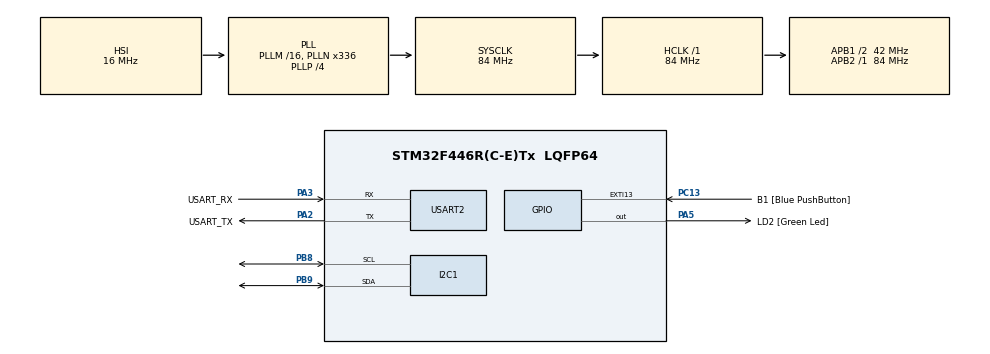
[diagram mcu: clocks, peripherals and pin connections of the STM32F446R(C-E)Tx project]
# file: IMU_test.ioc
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Mcu.Family=STM32F4
Mcu.Name=STM32F446R(C-E)Tx
Mcu.Package=LQFP64
NVIC.PriorityGroup=NVIC_PRIORITYGROUP_0
NVIC.USART2_IRQn=true\:0\:0\:false\:false\:true\:true\:true
PA13.GPIO_Label=TMS
PA13.Mode=Serial_Wire
PA13.Signal=SYS_JTMS-SWDIO
PA14.GPIO_Label=TCK
PA14.Mode=Serial_Wire
PA14.Signal=SYS_JTCK-SWCLK
PA2.GPIO_Label=USART_TX
PA2.Mode=Asynchronous
PA2.Signal=USART2_TX
PA3.GPIO_Label=USART_RX
PA3.Mode=Asynchronous
PA3.Signal=USART2_RX
PA5.GPIO_Label=LD2 [Green Led]
PA5.Signal=GPIO_Output
PB3.GPIO_Label=SWO
PB3.Signal=SYS_JTDO-SWO
PB8.Mode=I2C
PB8.Signal=I2C1_SCL
PB9.Mode=I2C
PB9.Signal=I2C1_SDA
PC13.GPIO_Label=B1 [Blue PushButton]
PC13.GPIO_ModeDefaultEXTI=GPIO_MODE_IT_FALLING
PC13.Signal=GPXTI13
PC14-OSC32_IN.Mode=LSE-External-Oscillator
PC14-OSC32_IN.Signal=RCC_OSC32_IN
PC15-OSC32_OUT.Mode=LSE-External-Oscillator
PC15-OSC32_OUT.Signal=RCC_OSC32_OUT
PH0-OSC_IN.Mode=HSE-External-Oscillator
PH0-OSC_IN.Signal=RCC_OSC_IN
PH1-OSC_OUT.Mode=HSE-External-Oscillator
PH1-OSC_OUT.Signal=RCC_OSC_OUT
ProjectManager.HeapSize=0x200
ProjectManager.StackSize=0x400
ProjectManager.TargetToolchain=STM32CubeIDE
RCC.48MHZClocksFreq_Value=84000000
RCC.AHBFreq_Value=84000000
RCC.APB1CLKDivider=RCC_HCLK_DIV2
RCC.APB1Freq_Value=42000000
RCC.APB1TimFreq_Value=84000000
RCC.APB2Freq_Value=84000000
RCC.APB2TimFreq_Value=84000000
RCC.CortexFreq_Value=84000000
RCC.FLatency-AdvancedSettings=FLASH_LATENCY_2
RCC.HCLKFreq_Value=84000000
RCC.HSE_VALUE=8000000
RCC.HSI_VALUE=16000000
RCC.PLLN=336
RCC.PLLP=RCC_PLLP_DIV4
RCC.SYSCLKFreq_VALUE=84000000
RCC.SYSCLKSource=RCC_SYSCLKSOURCE_PLLCLK
RCC.USBFreq_Value=168000000
RCC.VCOOutputFreq_Value=336000000
USART2.VirtualMode=VM_ASYNC
board=NUCLEO-F446RE

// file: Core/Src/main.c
/* USER CODE BEGIN Header */
/**
  ******************************************************************************
  * @file           : main.c
  * @brief          : Main program body
  ******************************************************************************
  * @attention
  *
  * <h2><center>&copy; Copyright (c) 2021 STMicroelectronics.
  * All rights reserved.</center></h2>
  *
  * This software component is licensed by ST under BSD 3-Clause license,
  * the "License"; You may not use this file except in compliance with the
  * License. You may obtain a copy of the License at:
  *                        opensource.org/licenses/BSD-3-Clause
  *
  ******************************************************************************
  */
/* USER CODE END Header */
#include "main.h"

/* USER CODE BEGIN Includes */
#include <stdio.h>
/* USER CODE END Includes */

/* USER CODE BEGIN PM */
#define IMU 0x68
#define AK8963 0x0c
/* USER CODE END PM */

I2C_HandleTypeDef hi2c1;

UART_HandleTypeDef huart2;

void SystemClock_Config(void);
static void MX_GPIO_Init(void);
static void MX_USART2_UART_Init(void);
static void MX_I2C1_Init(void);
/* USER CODE BEGIN PFP */
int _write(int file, char *ptr, int len);
void HAL_UART_RxCpltCallback(UART_HandleTypeDef *UartHandle);
/* USER CODE END PFP */

/* USER CODE BEGIN 0 */
uint8_t ret[1] = {0};
uint8_t rx_data = 0;
uint8_t flag_read[1] = {0};
uint8_t mag[7] = {0};

uint8_t send_data[18] = {0};
int16_t acc[3];
int16_t gyr[3];
uint8_t val[14];
/* USER CODE END 0 */

int main(void)
{
  /* USER CODE BEGIN 1 */
	setbuf(stdout, NULL);
  /* USER CODE END 1 */

  /* MCU Configuration--------------------------------------------------------*/

  /* Reset of all peripherals, Initializes the Flash interface and the Systick. */
  HAL_Init();

  /* Configure the system clock */
  SystemClock_Config();

  /* Initialize all configured peripherals */
  MX_GPIO_Init();
  MX_USART2_UART_Init();
  MX_I2C1_Init();
  /* USER CODE BEGIN 2 */
  ret[0] = 0x01;
  HAL_I2C_Mem_Write(&hi2c1, IMU<<1, 0x6b, I2C_MEMADD_SIZE_8BIT, (uint8_t*)ret, 0x01, 100);
  ret[0] = 0x08;
  HAL_I2C_Mem_Write(&hi2c1, IMU<<1, 0x1c, I2C_MEMADD_SIZE_8BIT, (uint8_t*)ret, 0x01, 100);
  HAL_I2C_Mem_Write(&hi2c1, IMU<<1, 0x1b, I2C_MEMADD_SIZE_8BIT, (uint8_t*)ret, 0x01, 100);
  ret[0] = 0x02;
  HAL_I2C_Mem_Write(&hi2c1, IMU<<1, 0x37, I2C_MEMADD_SIZE_8BIT, (uint8_t*)ret, 0x01, 100);
  ret[0] = 0x16;
  HAL_I2C_Mem_Write(&hi2c1, AK8963<<1, 0x0a, I2C_MEMADD_SIZE_8BIT, (uint8_t*)ret, 0x01, 100);
  HAL_UART_Receive_IT(&huart2, &rx_data, 1);
  /* USER CODE END 2 */

  /* Infinite loop */
  /* USER CODE BEGIN WHILE */
  while (1){
	  //HAL_I2C_Mem_Read(&hi2c1, IMU<<1, 0x3b,I2C_MEMADD_SIZE_8BIT,(uint8_t*)val ,14,100);
	  /*acc[0] = (val[0]<<8) | val[1];
	  acc[1] = (val[2]<<8) | val[3];
	  acc[2] = (val[4]<<8) | val[5];
	  gyr[0] = (val[6]<<8) | val[7];
	  gyr[1] = (val[8]<<8) | val[9];
	  gyr[2] = (val[10]<<8)| val[11];
	  gyr[0] -= 120;
	  gyr[1] += 100;
	  gyr[2] -= 100;
	  printf("%i\t%i\t%i\t%i\t%i\t%i\r\n", acc[0], acc[1], acc[2], gyr[0], gyr[1], gyr[2]);*/
	  HAL_Delay(100);

    /* USER CODE END WHILE */

  }
}

void SystemClock_Config(void)
{
  RCC_OscInitTypeDef RCC_OscInitStruct = {0};
  RCC_ClkInitTypeDef RCC_ClkInitStruct = {0};

  /** Configure the main internal regulator output voltage
  */
  __HAL_RCC_PWR_CLK_ENABLE();
  __HAL_PWR_VOLTAGESCALING_CONFIG(PWR_REGULATOR_VOLTAGE_SCALE3);
  /** Initializes the RCC Oscillators according to the specified parameters
  * in the RCC_OscInitTypeDef structure.
  */
  RCC_OscInitStruct.OscillatorType = RCC_OSCILLATORTYPE_HSI;
  RCC_OscInitStruct.HSIState = RCC_HSI_ON;
  RCC_OscInitStruct.HSICalibrationValue = RCC_HSICALIBRATION_DEFAULT;
  RCC_OscInitStruct.PLL.PLLState = RCC_PLL_ON;
  RCC_OscInitStruct.PLL.PLLSource = RCC_PLLSOURCE_HSI;
  RCC_OscInitStruct.PLL.PLLM = 16;
  RCC_OscInitStruct.PLL.PLLN = 336;
  RCC_OscInitStruct.PLL.PLLP = RCC_PLLP_DIV4;
  RCC_OscInitStruct.PLL.PLLQ = 2;
  RCC_OscInitStruct.PLL.PLLR = 2;
  if (HAL_RCC_OscConfig(&RCC_OscInitStruct) != HAL_OK)
  {
    Error_Handler();
  }
  /** Initializes the CPU, AHB and APB buses clocks
  */
  RCC_ClkInitStruct.ClockType = RCC_CLOCKTYPE_HCLK|RCC_CLOCKTYPE_SYSCLK
                              |RCC_CLOCKTYPE_PCLK1|RCC_CLOCKTYPE_PCLK2;
  RCC_ClkInitStruct.SYSCLKSource = RCC_SYSCLKSOURCE_PLLCLK;
  RCC_ClkInitStruct.AHBCLKDivider = RCC_SYSCLK_DIV1;
  RCC_ClkInitStruct.APB1CLKDivider = RCC_HCLK_DIV2;
  RCC_ClkInitStruct.APB2CLKDivider = RCC_HCLK_DIV1;

  if (HAL_RCC_ClockConfig(&RCC_ClkInitStruct, FLASH_LATENCY_2) != HAL_OK)
  {
    Error_Handler();
  }
}

static void MX_I2C1_Init(void)
{

  hi2c1.Instance = I2C1;
  hi2c1.Init.ClockSpeed = 100000;
  hi2c1.Init.DutyCycle = I2C_DUTYCYCLE_2;
  hi2c1.Init.OwnAddress1 = 0;
  hi2c1.Init.AddressingMode = I2C_ADDRESSINGMODE_7BIT;
  hi2c1.Init.DualAddressMode = I2C_DUALADDRESS_DISABLE;
  hi2c1.Init.OwnAddress2 = 0;
  hi2c1.Init.GeneralCallMode = I2C_GENERALCALL_DISABLE;
  hi2c1.Init.NoStretchMode = I2C_NOSTRETCH_DISABLE;
  if (HAL_I2C_Init(&hi2c1) != HAL_OK)
  {
    Error_Handler();
  }

}

static void MX_USART2_UART_Init(void)
{

  huart2.Instance = USART2;
  huart2.Init.BaudRate = 115200;
  huart2.Init.WordLength = UART_WORDLENGTH_8B;
  huart2.Init.StopBits = UART_STOPBITS_1;
  huart2.Init.Parity = UART_PARITY_NONE;
  huart2.Init.Mode = UART_MODE_TX_RX;
  huart2.Init.HwFlowCtl = UART_HWCONTROL_NONE;
  huart2.Init.OverSampling = UART_OVERSAMPLING_16;
  if (HAL_UART_Init(&huart2) != HAL_OK)
  {
    Error_Handler();
  }

}

static void MX_GPIO_Init(void)
{
  GPIO_InitTypeDef GPIO_InitStruct = {0};

  /* GPIO Ports Clock Enable */
  __HAL_RCC_GPIOC_CLK_ENABLE();
  __HAL_RCC_GPIOH_CLK_ENABLE();
  __HAL_RCC_GPIOA_CLK_ENABLE();
  __HAL_RCC_GPIOB_CLK_ENABLE();

  /*Configure GPIO pin Output Level */
  HAL_GPIO_WritePin(LD2_GPIO_Port, LD2_Pin, GPIO_PIN_RESET);

  /*Configure GPIO pin : B1_Pin */
  GPIO_InitStruct.Pin = B1_Pin;
  GPIO_InitStruct.Mode = GPIO_MODE_IT_FALLING;
  GPIO_InitStruct.Pull = GPIO_NOPULL;
  HAL_GPIO_Init(B1_GPIO_Port, &GPIO_InitStruct);

  /*Configure GPIO pin : LD2_Pin */
  GPIO_InitStruct.Pin = LD2_Pin;
  GPIO_InitStruct.Mode = GPIO_MODE_OUTPUT_PP;
  GPIO_InitStruct.Pull = GPIO_NOPULL;
  GPIO_InitStruct.Speed = GPIO_SPEED_FREQ_LOW;
  HAL_GPIO_Init(LD2_GPIO_Port, &GPIO_InitStruct);

}

/* USER CODE BEGIN 4 */
int _write(int file, char *ptr, int len){
	HAL_UART_Transmit(&huart2,(uint8_t *)ptr,len,10);
	return len;
}

void HAL_UART_RxCpltCallback(UART_HandleTypeDef *UartHandle){
	HAL_UART_Receive_IT(&huart2, &rx_data, 1);

	HAL_GPIO_TogglePin(GPIOA, GPIO_PIN_5);

	HAL_I2C_Mem_Read(&hi2c1, IMU<<1, 0x3b, I2C_MEMADD_SIZE_8BIT, (uint8_t*)val ,14, 100);
	HAL_I2C_Mem_Read(&hi2c1, AK8963<<1, 0x02, I2C_MEMADD_SIZE_8BIT, (uint8_t*)flag_read, 1, 100);

	if((flag_read[0] & 0x01)){
		HAL_I2C_Mem_Read(&hi2c1, AK8963<<1, 0x03, I2C_MEMADD_SIZE_8BIT, (uint8_t*)mag, 7, 100);
	}

	for(int i=0;i<6;i++){
		send_data[i] = val[i];
	}
	for(int i=0;i<6;i++){
		send_data[6+i] = val[8+i];
	}
	for(int i=0;i<6;i++){
		send_data[12+i] = mag[i];
	}

	HAL_UART_Transmit(&huart2, (uint8_t *)send_data, sizeof(send_data), 100);
}
/* USER CODE END 4 */

void Error_Handler(void)
{
}

/************************ (C) COPYRIGHT STMicroelectronics *****END OF FILE****/
